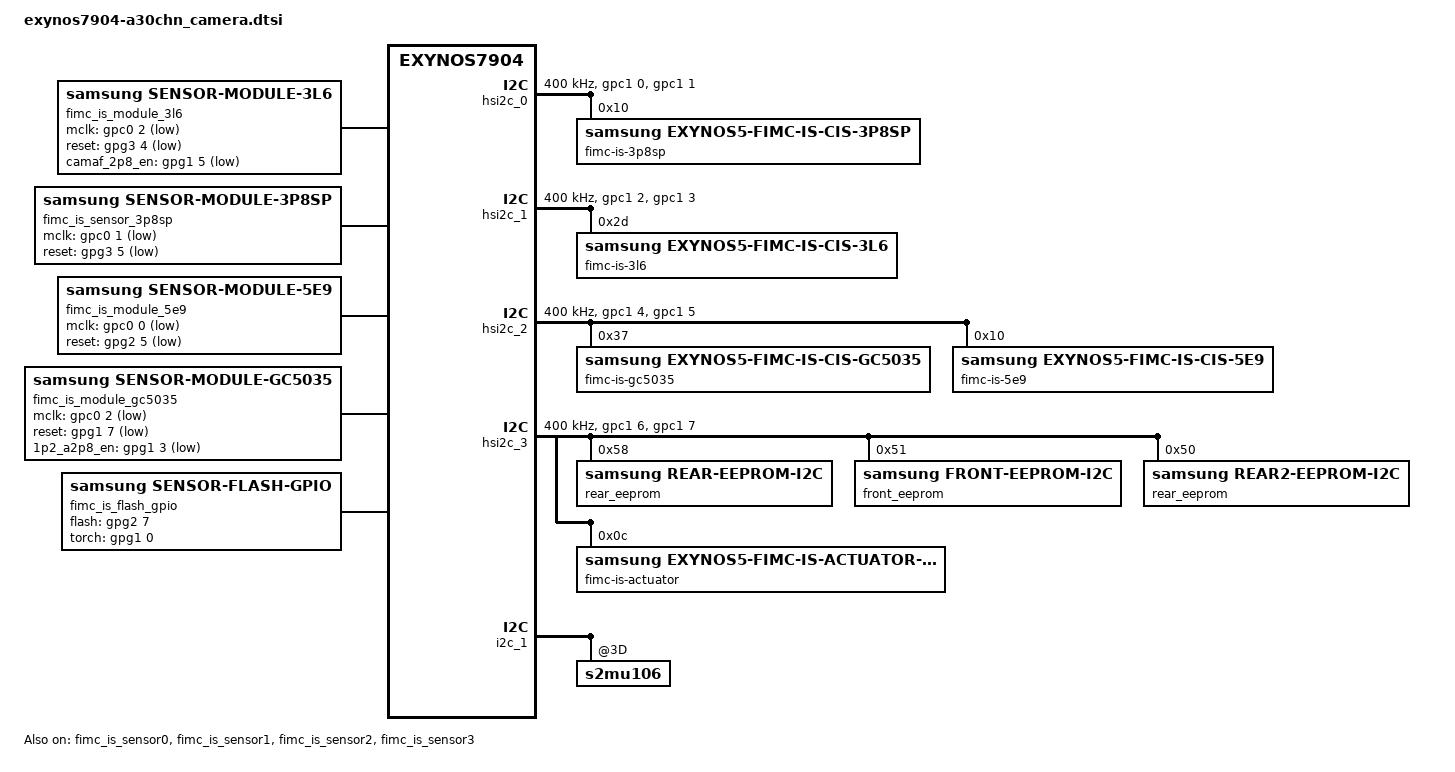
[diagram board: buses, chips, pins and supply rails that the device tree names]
/*
 * SAMSUNG EXYNOS7885 board camera device tree source
 *
 * Copyright (c) 2018 Samsung Electronics Co., Ltd.
 *		http://www.samsung.com
 *
 * This program is free software; you can redistribute it and/or modify
 * it under the terms of the GNU General Public License version 2 as
 * published by the Free Software Foundation.
 */
#include <dt-bindings/camera/fimc_is.h>
/ {
	fragment@camera {
		target-path = "/";
		__overlay__ {
			/* REAR CAMERA */
			fimc_is_module_3l6: fimc-is_sensor_3l6@2D {
				compatible = "samsung,sensor-module-3l6";

				use_pdaf; /* when USE_AP_PDAF is enabled, use for pdaf sensor */

				pinctrl-names = "pin0", "pin1", "pin2", "release";
				pinctrl-0 = <>;
				pinctrl-1 = <&fimc_is_mclk2_out>;
				pinctrl-2 = <&fimc_is_mclk2_fn>;
				pinctrl-3 = <>;

				position = <0>;					/* Rear:0. Front:1 */
				id = <0>; 						/* bns_id */
				mclk_ch = <2>;					/* XCI0_MCLK */
				sensor_i2c_ch = <1>;				/* HSI2C1 */

				gpio_mclk = <&gpc0 2 0x1>;			/* RCAM1_RCAM2_MCLK - XCI0_MCLK */
				gpio_reset = <&gpg3 4 0x1>;			/* RCAM1_RST_N - XGPIO24 */
				gpio_camaf_2p8_en = <&gpg1 5 0x1>;	/* RCAM1_AFVDD_2P8_EN*/
				shared_mclk;
				status = "okay";
				af {
					product_name = <19>;			/* ACTUATOR_NAME_DW9808 */
					i2c_addr = <0x18>;
					i2c_ch = <3>;
				};
				flash {
					product_name = <11>; /* FLASH_GPIO */
					flash_first_gpio = <2>;
				};
			};
			/* FRONT CAMERA */
			fimc_is_sensor_3p8sp: fimc-is_sensor_3p8sp@10 {
				compatible = "samsung,sensor-module-3p8sp";
				pinctrl-names = "default", "pin1", "pin2", "release";
				pinctrl-0 = <&fimc_is_mclk1_out>;
				pinctrl-1 = <&fimc_is_mclk1_out>;
				pinctrl-2 = <&fimc_is_mclk1_fn>;
				pinctrl-3 = <>;

				position = <1>;				/* Rear:0. Front:1 .. Rear3:6*/
				id = <1>;					/* bns_id */
				mclk_ch = <1>;
				sensor_i2c_ch = <0>;
				num_of_lanes=<4>;			/*  LANES_1:1, LANES_2:2, LANES_3:3, LANES_4:4 */

				gpio_mclk = <&gpc0 1 0x1>;				/* FCAM_MCLK*/
				gpio_reset = <&gpg3 5 0x1>;				/* FCAM_RST_N */
				status = "okay";
			};
			/* ULTRA WIDE CAMERA */
			fimc_is_module_5e9: fimc-is_sensor_5e9@10 {
				compatible = "samsung,sensor-module-5e9";

				pinctrl-names = "pin0", "pin1", "pin2", "release";
				pinctrl-0 = <&fimc_is_mclk0_out>;
				pinctrl-1 = <&fimc_is_mclk0_out>;
				pinctrl-2 = <&fimc_is_mclk0_fn>;
				pinctrl-3 = <>;

				position = <2>;							/* Rear:0. Front:1 */
				id = <2>;									/* bns_id */
				mclk_ch = <0>;
				sensor_i2c_ch = <2>;						/* HSI2C3 */

				gpio_mclk = <&gpc0 0 0x1>;					/* RCAM1_RCAM2_MCLK - XCI0_MCLK */
				gpio_reset = <&gpg2 5 0x1>;					/* RCAM2_RST_N - XGPIO17 */
				status = "okay";
			};
			/* DEPTH CAMERA */
			fimc_is_module_gc5035: fimc-is_sensor_gc5035@37 {
				compatible = "samsung,sensor-module-gc5035";

				pinctrl-names = "pin0", "pin1", "pin2", "release";
				pinctrl-0 = <>;
				pinctrl-1 = <&fimc_is_mclk2_out>;
				pinctrl-2 = <&fimc_is_mclk2_fn>;
				pinctrl-3 = <>;

				position = <4>;							/* Rear:0. Front:1 */
				id = <3>;									/* bns_id */
				mclk_ch = <2>;
				sensor_i2c_ch = <2>;						/* HSI2C3 */

				gpio_mclk = <&gpc0 2 0x1>;					/* RCAM1_RCAM2_MCLK - XCI0_MCLK */
				gpio_reset = <&gpg1 7 0x1>;					/* RCAM2_RST_N - XGPIO17 */
				gpio_1p2_a2p8_en = <&gpg1 3 0x1>; 				/* CAM_DVDD_1P2 CAM_AVDD_2P8 */
				shared_mclk;
				status = "okay";
			};

			fimc_is_flash_gpio: fimc-is-flash_gpio@0 {
				compatible = "samsung,sensor-flash-gpio";
				id = <0>; /* Rear  */
				status = "okay";
				flash-gpio = <&gpg2 7 0>;
				torch-gpio = <&gpg1 0 0>;

			};
		}; /* end of __overlay__ */
	}; /* end of fragment */
}; /* end of root */
/***** reference symbol node *****/
&fimc_is {
	pinctrl-names = "default","release";
	pinctrl-0 = <&fimc_is_mclk0_out &fimc_is_mclk1_out &fimc_is_mclk2_out>;
	pinctrl-1 = <>;
	vender {
		rear_sensor_id = <59>;		/* SENSOR_NAME_S5K3L6 */
		front_sensor_id = <44>;		/* SENSOR_NAME_S5K3P8SP */
		rear2_sensor_id = <41>;		/* SENSOR_NAME_S5K5E9 */
		rear3_sensor_id = <210>;	/* SENSOR_NAME_GC5035 */

		//use_module_check;
		//skip_cal_loading;
		max_supported_camera = <5>;
		supported_cameraId = <0 1 23 50 52>;
		/* REAR, FRONT, DUAL WIDE, REAR_2ND, REAR_3RD */

		max_camera_num = <4>;
		camera_info0 {				/* 0 : Rear - SENSOR_NAME_S5K3L6 */
			isp = <0>;				/* 0 : INT , 1 : EXT , 2 : SOC */
			cal_memory = <2>;			/* 0 : N , 1 : FROM , 2 : EEPROM , 3 : OTP  */
			read_version = <0>;		/* 0 : SYSFS , 1 : CAMON */
			core_voltage = <0>;		/* 0 : N , 1 : Y  */
			upgrade = <0>;			/* 0 : N , 1 : SYSFS , 2 : CAMON */
			companion = <0>;			/* 0 : N , 1 : Y  */
			ois = <0>;				/* 0 : N , 1 : Y  */
			valid = <1>;				/* 0 : INVALID, 1 : VALID */
			dual_open = <0>;			/* 0 : SINGLE_OPEN , 1 : DUAL_OPEN */
			position = <0>;			/* 0 : Rear, 1:Front, 2:Rear2, 3:Front2, 4:Rear3 */
		};
		camera_info1 {				/* 1 : Front - SENSOR_NAME_S5K3P8SP */
			isp = <0>;				/* 0 : INT , 1 : EXT , 2 : SOC */
			cal_memory = <2>;			/* 0 : N , 1 : FROM , 2 : EEPROM , 3 : OTP  */
			read_version = <0>;		/* 0 : SYSFS , 1 : CAMON */
			core_voltage = <0>;		/* 0 : N , 1 : Y  */
			upgrade = <0>;			/* 0 : N , 1 : SYSFS , 2 : CAMON */
			companion = <0>;			/* 0 : N , 1 : Y  */
			ois = <0>;				/* 0 : N , 1 : Y  */
			valid = <1>;				/* 0 : INVALID, 1 : VALID */
			dual_open = <0>;			/* 0 : SINGLE_OPEN , 1 : DUAL_OPEN */
			position = <1>;			/* 0 : Rear, 1:Front, 2:Rear2, 3:Front2, 4:Rear3 */
		};
		camera_info2 {				/* 2 : UW - SENSOR_NAME_S5K5E9 */
			isp = <0>;				/* 0 : INT , 1 : EXT , 2 : SOC */
			cal_memory = <2>;			/* 0 : N , 1 : FROM , 2 : EEPROM , 3 : OTP  */
			read_version = <0>;		/* 0 : SYSFS , 1 : CAMON */
			core_voltage = <0>;		/* 0 : N , 1 : Y  */
			upgrade = <0>;			/* 0 : N , 1 : SYSFS , 2 : CAMON */
			companion = <0>;			/* 0 : N , 1 : Y  */
			ois = <0>;				/* 0 : N , 1 : Y  */
			valid = <1>;				/* 0 : INVALID, 1 : VALID */
			dual_open = <0>;			/* 0 : SINGLE_OPEN , 1 : DUAL_OPEN */
			position = <2>;			/* 0 : Rear, 1:Front, 2:Rear2, 3:Front2, 4:Rear3 */
		};
		camera_info3 {				/* 3 : Bokeh - SENSOR_NAME_GC5035 */
			isp = <0>;				/* 0 : INT , 1 : EXT , 2 : SOC */
			cal_memory = <0>;			/* 0 : N , 1 : FROM , 2 : EEPROM , 3 : OTP  */
			read_version = <0>;		/* 0 : SYSFS , 1 : CAMON */
			core_voltage = <0>;		/* 0 : N , 1 : Y  */
			upgrade = <0>;			/* 0 : N , 1 : SYSFS , 2 : CAMON */
			companion = <0>;			/* 0 : N , 1 : Y  */
			ois = <0>;				/* 0 : N , 1 : Y  */
			valid = <1>;				/* 0 : INVALID, 1 : VALID */
			dual_open = <1>;			/* 0 : SINGLE_OPEN , 1 : DUAL_OPEN */
			position = <4>;			/* 0 : Rear, 1:Front, 2:Rear2, 3:Front2, 4:Rear3 */
		};
	};

	fimc_is_dvfs {
		/* TODO: DVFS level set */
		#define DVFS_INT_L0 533000
		#define DVFS_INT_L1 333000
		#define DVFS_INT_L2 267000
		#define DVFS_INT_L3 133000
		#define DVFS_INT_L4 107000
		#define DVFS_CAM_L0 690000
		#define DVFS_CAM_L1 680000
		#define DVFS_CAM_L2 670000
		#define DVFS_CAM_L3 660000
		#define DVFS_CAM_L4 650000
		#define DVFS_MIF_L0 2093000
		#define DVFS_MIF_L1 2002000
		#define DVFS_MIF_L2 1794000
		#define DVFS_MIF_L3 1539000
		#define DVFS_MIF_L4 1352000
		#define DVFS_MIF_L5 1014000
		#define DVFS_MIF_L6 845000
		#define DVFS_MIF_L7 676000
		#define DVFS_MIF_L8 546000
		#define DVFS_MIF_L9 420000
		table0 {
			desc = "default";

			default_int = <DVFS_INT_L4>;
			default_cam = <DVFS_CAM_L0>;
			default_mif = <DVFS_MIF_L0>;
			default_i2c = <0>;
			default_hpg = <1>;
			
			front_preview_int = <DVFS_INT_L4>;
			front_preview_cam = <DVFS_CAM_L0>;
			front_preview_mif = <DVFS_MIF_L4>;
			front_preview_i2c = <0>;
			front_preview_hpg = <1>;
			
			front_capture_int = <DVFS_INT_L4>;
			front_capture_cam = <DVFS_CAM_L0>;
			front_capture_mif = <DVFS_MIF_L4>;
			front_capture_i2c = <0>;
			front_capture_hpg = <1>;
			
			front_video_int = <DVFS_INT_L4>;
			front_video_cam = <DVFS_CAM_L0>;
			front_video_mif = <DVFS_MIF_L4>;
			front_video_i2c = <0>;
			front_video_hpg = <1>;
			
			front_vt1_int = <DVFS_INT_L4>;
			front_vt1_cam = <DVFS_CAM_L0>;
			front_vt1_mif = <DVFS_MIF_L7>;
			front_vt1_i2c = <0>;
			front_vt1_hpg = <1>;
			
			front_vt2_int = <DVFS_INT_L4>;
			front_vt2_cam = <DVFS_CAM_L0>;
			front_vt2_mif = <DVFS_MIF_L7>;
			front_vt2_i2c = <0>;
			front_vt2_hpg = <1>;
			
			front_vt4_int = <DVFS_INT_L4>;
			front_vt4_cam = <DVFS_CAM_L0>;
			front_vt4_mif = <DVFS_MIF_L7>;
			front_vt4_i2c = <0>;
			front_vt4_hpg = <1>;
			
			rear2_preview_int = <DVFS_INT_L4>;
			rear2_preview_cam = <DVFS_CAM_L3>;
			rear2_preview_mif = <DVFS_MIF_L4>;
			rear2_preview_i2c = <0>;
			rear2_preview_hpg = <1>;

			rear2_capture_int = <DVFS_INT_L4>;
			rear2_capture_cam = <DVFS_CAM_L3>;
			rear2_capture_mif = <DVFS_MIF_L3>;
			rear2_capture_i2c = <0>;
			rear2_capture_hpg = <1>;

			rear2_video_int = <DVFS_INT_L4>;
			rear2_video_cam = <DVFS_CAM_L3>;
			rear2_video_mif = <DVFS_MIF_L4>;
			rear2_video_i2c = <0>;
			rear2_video_hpg = <1>;

			rear2_video_fhd_int = <DVFS_INT_L4>;
			rear2_video_fhd_cam = <DVFS_CAM_L0>;
			rear2_video_fhd_mif = <DVFS_MIF_L3>;
			rear2_video_fhd_i2c = <0>;
			rear2_video_fhd_hpg = <1>;

			rear_preview_fhd_int = <DVFS_INT_L4>;
			rear_preview_fhd_cam = <DVFS_CAM_L0>;
			rear_preview_fhd_mif = <DVFS_MIF_L3>;
			rear_preview_fhd_i2c = <0>;
			rear_preview_fhd_hpg = <1>;
			
			rear_capture_int = <DVFS_INT_L4>;
			rear_capture_cam = <DVFS_CAM_L0>;
			rear_capture_mif = <DVFS_MIF_L3>;
			rear_capture_i2c = <0>;
			rear_capture_hpg = <1>;
			
			rear_video_fhd_int = <DVFS_INT_L4>;
			rear_video_fhd_cam = <DVFS_CAM_L0>;
			rear_video_fhd_mif = <DVFS_MIF_L3>;
			rear_video_fhd_i2c = <0>;
			rear_video_fhd_hpg = <1>;
			
			rear_video_uhd_int = <DVFS_INT_L4>;
			rear_video_uhd_cam = <DVFS_CAM_L0>;
			rear_video_uhd_mif = <DVFS_MIF_L1>;
			rear_video_uhd_i2c = <0>;
			rear_video_uhd_hpg = <1>;
			
			rear_video_fhd_capture_int = <DVFS_INT_L4>;
			rear_video_fhd_capture_cam = <DVFS_CAM_L0>;
			rear_video_fhd_capture_mif = <DVFS_MIF_L3>;
			rear_video_fhd_capture_i2c = <0>;
			rear_video_fhd_capture_hpg = <1>;
			
			rear_video_uhd_capture_int = <DVFS_INT_L4>;
			rear_video_uhd_capture_cam = <DVFS_CAM_L0>;
			rear_video_uhd_capture_mif = <DVFS_MIF_L0>;
			rear_video_uhd_capture_i2c = <0>;
			rear_video_uhd_capture_hpg = <1>;
			
			dual_preview_int = <DVFS_INT_L4>;
			dual_preview_cam = <DVFS_CAM_L0>;
			dual_preview_mif = <DVFS_MIF_L2>;
			dual_preview_i2c = <0>;
			dual_preview_hpg = <1>;
			
			dual_capture_int = <DVFS_INT_L4>;
			dual_capture_cam = <DVFS_CAM_L0>;
			dual_capture_mif = <DVFS_MIF_L2>;
			dual_capture_i2c = <0>;
			dual_capture_hpg = <1>;
			
			dual_video_int = <DVFS_INT_L4>;
			dual_video_cam = <DVFS_CAM_L0>;
			dual_video_mif = <DVFS_MIF_L2>;
			dual_video_i2c = <0>;
			dual_video_hpg = <1>;
			
			preview_high_speed_fps_int = <DVFS_INT_L4>;
			preview_high_speed_fps_cam = <DVFS_CAM_L0>;
			preview_high_speed_fps_mif = <DVFS_MIF_L5>;
			preview_high_speed_fps_i2c = <0>;
			preview_high_speed_fps_hpg = <1>;
			
			video_high_speed_60fps_int = <DVFS_INT_L4>;
			video_high_speed_60fps_cam = <DVFS_CAM_L0>;
			video_high_speed_60fps_mif = <DVFS_MIF_L5>;
			video_high_speed_60fps_i2c = <0>;
			video_high_speed_60fps_hpg = <1>;
			
			video_high_speed_120fps_int = <DVFS_INT_L4>;
			video_high_speed_120fps_cam = <DVFS_CAM_L0>;
			video_high_speed_120fps_mif = <DVFS_MIF_L5>;
			video_high_speed_120fps_i2c = <0>;
			video_high_speed_120fps_hpg = <6>;
			
			max_int = <DVFS_INT_L4>;
			max_cam = <DVFS_CAM_L0>;
			max_mif = <DVFS_MIF_L0>;
			max_i2c = <0>;
			max_hpg = <1>;
		};
		table1 {
			desc = "DVFS table for HAL3";

			default_int = <DVFS_INT_L4>;
			default_cam = <DVFS_CAM_L0>;
			default_mif = <DVFS_MIF_L0>;
			default_i2c = <0>;
			default_hpg = <1>;

			front_preview_int = <DVFS_INT_L4>;
			front_preview_cam = <DVFS_CAM_L0>;
			front_preview_mif = <DVFS_MIF_L4>;
			front_preview_i2c = <0>;
			front_preview_hpg = <1>;

			front_capture_int = <DVFS_INT_L4>;
			front_capture_cam = <DVFS_CAM_L0>;
			front_capture_mif = <DVFS_MIF_L4>;
			front_capture_i2c = <0>;
			front_capture_hpg = <1>;

			front_video_int = <DVFS_INT_L4>;
			front_video_cam = <DVFS_CAM_L0>;
			front_video_mif = <DVFS_MIF_L4>;
			front_video_i2c = <0>;
			front_video_hpg = <1>;

			front_vt1_int = <DVFS_INT_L4>;
			front_vt1_cam = <DVFS_CAM_L0>;
			front_vt1_mif = <DVFS_MIF_L5>;
			front_vt1_i2c = <0>;
			front_vt1_hpg = <1>;

			front_vt2_int = <DVFS_INT_L4>;
			front_vt2_cam = <DVFS_CAM_L0>;
			front_vt2_mif = <DVFS_MIF_L5>;
			front_vt2_i2c = <0>;
			front_vt2_hpg = <1>;

			front_vt4_int = <DVFS_INT_L4>;
			front_vt4_cam = <DVFS_CAM_L0>;
			front_vt4_mif = <DVFS_MIF_L5>;
			front_vt4_i2c = <0>;
			front_vt4_hpg = <1>;

			rear2_preview_fhd_int = <DVFS_INT_L4>;
			rear2_preview_fhd_cam = <DVFS_CAM_L3>;
			rear2_preview_fhd_mif = <DVFS_MIF_L4>;
			rear2_preview_fhd_i2c = <0>;
			rear2_preview_fhd_hpg = <1>;

			rear2_capture_int = <DVFS_INT_L4>;
			rear2_capture_cam = <DVFS_CAM_L3>;
			rear2_capture_mif = <DVFS_MIF_L3>;
			rear2_capture_i2c = <0>;
			rear2_capture_hpg = <1>;

			rear2_video_fhd_int = <DVFS_INT_L4>;
			rear2_video_fhd_cam = <DVFS_CAM_L0>;
			rear2_video_fhd_mif = <DVFS_MIF_L2>;
			rear2_video_fhd_i2c = <0>;
			rear2_video_fhd_hpg = <1>;

			rear2_video_fhd_capture_int = <DVFS_INT_L4>;
			rear2_video_fhd_capture_cam = <DVFS_CAM_L0>;
			rear2_video_fhd_capture_mif = <DVFS_MIF_L2>;
			rear2_video_fhd_capture_i2c = <0>;
			rear2_video_fhd_capture_hpg = <1>;

			rear3_preview_int = <DVFS_INT_L4>;
			rear3_preview_cam = <DVFS_CAM_L3>;
			rear3_preview_mif = <DVFS_MIF_L4>;
			rear3_preview_i2c = <0>;
			rear3_preview_hpg = <1>;

			rear3_capture_int = <DVFS_INT_L4>;
			rear3_capture_cam = <DVFS_CAM_L3>;
			rear3_capture_mif = <DVFS_MIF_L3>;
			rear3_capture_i2c = <0>;
			rear3_capture_hpg = <1>;

			rear3_video_int = <DVFS_INT_L4>;
			rear3_video_cam = <DVFS_CAM_L3>;
			rear3_video_mif = <DVFS_MIF_L4>;
			rear3_video_i2c = <0>;
			rear3_video_hpg = <1>;

			rear3_video_fhd_int = <DVFS_INT_L4>;
			rear3_video_fhd_cam = <DVFS_CAM_L0>;
			rear3_video_fhd_mif = <DVFS_MIF_L2>;
			rear3_video_fhd_i2c = <0>;
			rear3_video_fhd_hpg = <1>;

			rear_preview_fhd_int = <DVFS_INT_L4>;
			rear_preview_fhd_cam = <DVFS_CAM_L0>;
			rear_preview_fhd_mif = <DVFS_MIF_L2>;
			rear_preview_fhd_i2c = <0>;
			rear_preview_fhd_hpg = <1>;

			rear_capture_int = <DVFS_INT_L4>;
			rear_capture_cam = <DVFS_CAM_L0>;
			rear_capture_mif = <DVFS_MIF_L2>;
			rear_capture_i2c = <0>;
			rear_capture_hpg = <1>;

			rear_video_fhd_int = <DVFS_INT_L4>;
			rear_video_fhd_cam = <DVFS_CAM_L0>;
			rear_video_fhd_mif = <DVFS_MIF_L2>;
			rear_video_fhd_i2c = <0>;
			rear_video_fhd_hpg = <1>;

			rear_video_uhd_int = <DVFS_INT_L4>;
			rear_video_uhd_cam = <DVFS_CAM_L0>;
			rear_video_uhd_mif = <DVFS_MIF_L1>;
			rear_video_uhd_i2c = <0>;
			rear_video_uhd_hpg = <1>;

			rear_video_fhd_capture_int = <DVFS_INT_L4>;
			rear_video_fhd_capture_cam = <DVFS_CAM_L0>;
			rear_video_fhd_capture_mif = <DVFS_MIF_L3>;
			rear_video_fhd_capture_i2c = <0>;
			rear_video_fhd_capture_hpg = <1>;

			rear_video_uhd_capture_int = <DVFS_INT_L4>;
			rear_video_uhd_capture_cam = <DVFS_CAM_L0>;
			rear_video_uhd_capture_mif = <DVFS_MIF_L0>;
			rear_video_uhd_capture_i2c = <0>;
			rear_video_uhd_capture_hpg = <1>;

			dual_preview_int = <DVFS_INT_L4>;
			dual_preview_cam = <DVFS_CAM_L0>;
			dual_preview_mif = <DVFS_MIF_L2>;
			dual_preview_i2c = <0>;
			dual_preview_hpg = <1>;

			dual_capture_int = <DVFS_INT_L4>;
			dual_capture_cam = <DVFS_CAM_L0>;
			dual_capture_mif = <DVFS_MIF_L2>;
			dual_capture_i2c = <0>;
			dual_capture_hpg = <1>;

			dual_video_int = <DVFS_INT_L4>;
			dual_video_cam = <DVFS_CAM_L0>;
			dual_video_mif = <DVFS_MIF_L2>;
			dual_video_i2c = <0>;
			dual_video_hpg = <1>;

			preview_high_speed_fps_int = <DVFS_INT_L4>;
			preview_high_speed_fps_cam = <DVFS_CAM_L0>;
			preview_high_speed_fps_mif = <DVFS_MIF_L5>;
			preview_high_speed_fps_i2c = <0>;
			preview_high_speed_fps_hpg = <1>;

			video_high_speed_60fps_int = <DVFS_INT_L4>;
			video_high_speed_60fps_cam = <DVFS_CAM_L0>;
			video_high_speed_60fps_mif = <DVFS_MIF_L5>;
			video_high_speed_60fps_i2c = <0>;
			video_high_speed_60fps_hpg = <1>;

			video_high_speed_120fps_int = <DVFS_INT_L4>;
			video_high_speed_120fps_cam = <DVFS_CAM_L0>;
			video_high_speed_120fps_mif = <DVFS_MIF_L5>;
			video_high_speed_120fps_i2c = <0>;
			video_high_speed_120fps_hpg = <6>;

			max_int = <DVFS_INT_L4>;
			max_cam = <DVFS_CAM_L0>;
			max_mif = <DVFS_MIF_L0>;
			max_i2c = <0>;
			max_hpg = <1>;
		};
	};
};
/* fimc_is_sensor0 - XMIPI_CSI4LA */
&fimc_is_sensor0 {
	scenario = <SENSOR_SCENARIO_NORMAL>;	/* Normal, Vision, OIS etc */
	id = <0>;
	csi_ch = <1>;
	flite_ch = <FLITE_ID_NOTHING>;
	is_bns = <0>;
	is_flite = <0>;
	status = "okay";
	//use_ssvc1_internal;
};
/* fimc_is_sensor1 - XMIPI_CSI4LB */
&fimc_is_sensor1 {
	scenario = <SENSOR_SCENARIO_NORMAL>;	/* Normal, Vision, OIS etc */
	id = <1>;
	csi_ch = <0>;
	flite_ch = <FLITE_ID_NOTHING>;
	is_bns = <0>;
	is_flite = <0>;
	status = "okay";
};
/* fimc_is_sensor2 - XMIPI_CSI4LC */
&fimc_is_sensor2 {
	scenario = <SENSOR_SCENARIO_NORMAL>;	/* Normal, Vision, OIS etc */
	id = <3>;
	csi_ch = <2>;
	flite_ch = <FLITE_ID_NOTHING>;
	is_bns = <0>;
	is_flite = <0>;
	status = "okay";
};

/* fimc_is_sensor3 - XMIPI_CSI2L */
&fimc_is_sensor3 {
	scenario = <SENSOR_SCENARIO_NORMAL>;	/* Normal, Vision, OIS etc */
	id = <2>;
	csi_ch = <3>;
	flite_ch = <FLITE_ID_NOTHING>;
	is_bns = <0>;
	is_flite = <0>;
	status = "okay";
};

/* hsi2c_0: hsi2c@138A0000 */
&hsi2c_0 {
	#address-cells = <1>;
	#size-cells = <0>;
	gpios = <&gpc1 0 0 &gpc1 1 0>;
	status = "okay";
	clock-frequency = <400000>;
	samsung,scl-extended-low-period;
	samsung,reset-before-trans;

	pinctrl-names = "on_i2c";
	pinctrl-0 = <&hs_i2c0_bus>;
	fimc-is-3p8sp@10 {
		compatible = "samsung,exynos5-fimc-is-cis-3p8sp";
		reg = <0x10>;				/* 1 bit right shift : 7bit address */
		id = <1>;
		num_of_lanes=<4>;			/*  LANES_1:1, LANES_2:2, LANES_3:3, LANES_4:4 */
		sensor_f_number = <200>;	/* f number 2.0 */
		setfile = "setB";			/* MIPI CLK changed to 684.67 in J7Duo */
		use_initial_ae;				/* for initial AE of face unlock */
	};
};
/* hsi2c_1: hsi2c@138B0000 */
&hsi2c_1 {
	#address-cells = <1>;
	#size-cells = <0>;
	gpios = <&gpc1 2 0 &gpc1 3 0>;	/* SDA - SCL */
	status = "okay";
	clock-frequency = <400000>;
	samsung,scl-extended-low-period;
	samsung,reset-before-trans;

	pinctrl-names = "on_i2c";
	pinctrl-0 = <&hs_i2c1_bus>;
	fimc-is-3l6@2D {
		compatible = "samsung,exynos5-fimc-is-cis-3l6";
		reg = <0x2D>;				/* 1 bit right shift */
		id = <0>;					/* matching sensor id */
		sensor_f_number = <190>;	/* f number 1.9 */
		setfile = "setB";
	};
};
&hsi2c_2 {
	gpios = <&gpc1 4 0 &gpc1 5 0>;
	status = "okay";
	clock-frequency = <400000>;
	samsung,scl-extended-low-period;
	samsung,reset-before-trans;

	pinctrl-names = "on_i2c";
	pinctrl-0 = <&hs_i2c2_bus>;
	fimc-is-gc5035@37{
		compatible = "samsung,exynos5-fimc-is-cis-gc5035";
		reg = <0x37>;				/* 1 bit right shift */
		id = <3>;					/* matching sensor id */
		sensor_f_number = <220>;	/* f number 2.2 */
		setfile = "setB";
	};

	fimc-is-5e9@10{
		compatible = "samsung,exynos5-fimc-is-cis-5e9";
		reg = <0x10>;				/* 1 bit right shift */
		id = <2>;					/* matching sensor id */
		sensor_f_number = <220>;	/* f number 2.2 */
		setfile = "setB";
	};
};
/* hsi2c_3: hsi2c@138D0000 */
&hsi2c_3 {
	#address-cells = <1>;
	#size-cells = <0>;
	gpios = <&gpc1 6 0 &gpc1 7 0>;
	status = "okay";
	clock-frequency = <400000>;
	samsung,scl-extended-low-period;
	samsung,reset-before-trans;

	pinctrl-names = "on_i2c";
	pinctrl-0 = <&hs_i2c3_bus>;
	rear_eeprom@B0 {
		compatible = "samsung,rear-eeprom-i2c";
		reg = <0x58>;		/* 7bit-addr */
		use_common_rom_position = <4>;
	};

	front_eeprom@A2 {
		compatible = "samsung,front-eeprom-i2c";
		reg = <0x51>;		/* 7bit-addr */
	};

	rear_eeprom@A0 {
		compatible = "samsung,rear2-eeprom-i2c";
		reg = <0x50>;		/* 7bit-addr */
	};

	fimc-is-actuator@18 {
		compatible = "samsung,exynos5-fimc-is-actuator-dw9808";
		reg = <0x0C>;
		id = <0>;			/* matching sensor id */
		place = <0>;
	};
};
&i2c_1 {
	s2mu106@3D{
		flash_led {
			default_current = <50>;
			max_current = <200>;
			default_timer = <0>;
			flash-gpio = <&gpg2 7 0>;
			torch-gpio = <&gpg1 0 0>;

			flash_current = <1500>;
			preflash_current = <175>;
			movie_current = <150>; /*unused*/
			torch_current = <90>;
			factory_current = <350>;
			//front_torch_current = <300>;

			status = "okay";
			s2mu106-channel1 {
				id = <0>;
				/*
				current = <100>;
				timer = <200>;
				*/
			};
		};
	};
};
